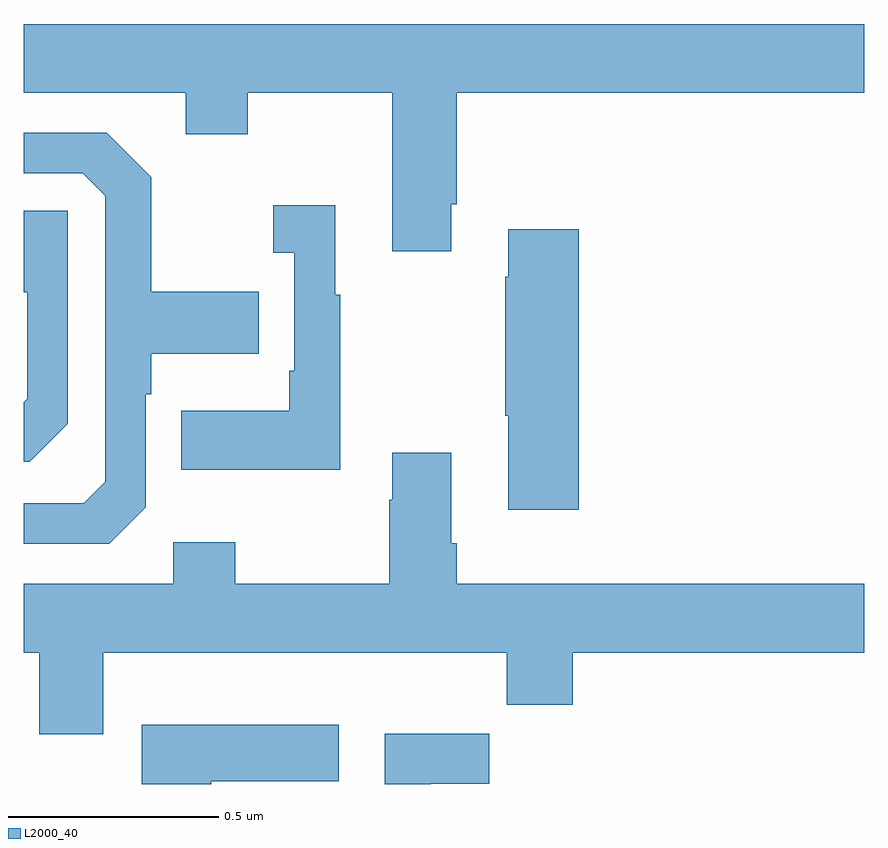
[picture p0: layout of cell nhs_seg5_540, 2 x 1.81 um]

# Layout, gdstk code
import gdstk
lib = gdstk.Library(unit=1e-6, precision=1e-09)
def P(c, l, *ps):  # polygons
    for p in ps: c.add(gdstk.Polygon(p, *l))
L2000_40 = (2000, 40)

nhs_seg5_540 = lib.new_cell('nhs_seg5_540')
P(nhs_seg5_540, L2000_40, [(119.017,839.179),(119.03,839.179),(119.03,839.444),(120,839.444),(120,839.608),(118,839.608),(118,839.444),(118.385,839.444),(118.385,839.345),(118.533,839.345),(118.533,839.444),(118.877,839.444),(118.877,839.067),(119.017,839.067)],
  [(118.29,838.458),(118.29,838.727),(118.303,838.727),(118.303,838.823),(118.559,838.823),(118.559,838.971),(118.303,838.971),(118.303,839.243),(118.197,839.349),(118,839.349),(118,839.253),(118.14,839.253),(118.194,839.199),(118.194,838.518),(118.143,838.467),(118,838.467),(118,838.371),(118.203,838.371)],
  [(118.753,838.963),(118.741,838.963),(118.741,839.176),(118.593,839.176),(118.593,839.063),(118.644,839.063),(118.644,838.783),(118.632,838.783),(118.632,838.687),(118.375,838.687),(118.375,838.547),(118.753,838.547)],
  [(118.104,838.656),(118.104,839.163),(118,839.163),(118,838.97),(118.008,838.97),(118.008,838.716),(118,838.708),(118,838.566),(118.014,838.566)],
  [(119.321,839.119),(119.153,839.119),(119.153,839.006),(119.146,839.006),(119.146,838.675),(119.153,838.675),(119.153,838.452),(119.321,838.452)],
  [(118.189,838.112),(119.149,838.112),(119.149,837.988),(119.306,837.988),(119.306,838.112),(120,838.112),(120,838.276),(119.03,838.276),(119.03,838.372),(119.017,838.372),(119.017,838.588),(118.877,838.588),(118.877,838.475),(118.87,838.475),(118.87,838.276),(118.503,838.276),(118.503,838.375),(118.356,838.375),(118.356,838.276),(118,838.276),(118,838.112),(118.037,838.112),(118.037,837.918),(118.189,837.918)],
  [(118.446,837.806),(118.75,837.806),(118.75,837.94),(118.28,837.94),(118.28,837.799),(118.446,837.799)],
  [(118.969,837.8),(119.108,837.8),(119.108,837.919),(118.859,837.919),(118.859,837.799),(118.969,837.799)])

lib.write_gds('nhs_seg5_540.gds')
